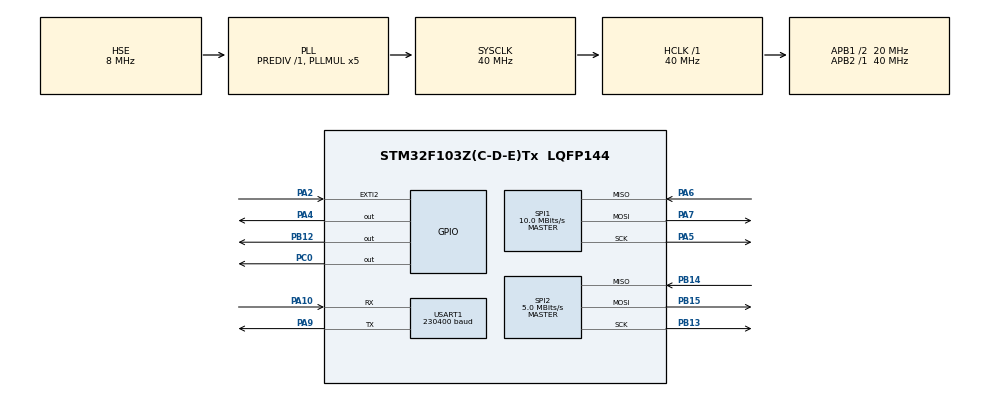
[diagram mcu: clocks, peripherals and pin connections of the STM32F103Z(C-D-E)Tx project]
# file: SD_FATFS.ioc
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FATFS._MAX_SS=4096
FATFS._USE_LFN=1
Mcu.Family=STM32F1
Mcu.Name=STM32F103Z(C-D-E)Tx
Mcu.Package=LQFP144
NVIC.EXTI2_IRQn=true\:0\:0\:false\:false\:true\:true\:true\:true
NVIC.PriorityGroup=NVIC_PRIORITYGROUP_4
NVIC.TIM2_IRQn=true\:0\:0\:false\:false\:true\:true\:true\:true
NVIC.USART1_IRQn=true\:0\:0\:false\:false\:true\:true\:true\:true
OSC_IN.Mode=HSE-External-Oscillator
OSC_IN.Signal=RCC_OSC_IN
OSC_OUT.Mode=HSE-External-Oscillator
OSC_OUT.Signal=RCC_OSC_OUT
PA10.Mode=Asynchronous
PA10.Signal=USART1_RX
PA13.Mode=Serial_Wire
PA13.Signal=SYS_JTMS-SWDIO
PA14.Mode=Serial_Wire
PA14.Signal=SYS_JTCK-SWCLK
PA2.GPIO_ModeDefaultEXTI=GPIO_MODE_IT_RISING_FALLING
PA2.Signal=GPXTI2
PA4.GPIO_Speed=GPIO_SPEED_FREQ_MEDIUM
PA4.Signal=GPIO_Output
PA5.Mode=Full_Duplex_Master
PA5.Signal=SPI1_SCK
PA6.Mode=Full_Duplex_Master
PA6.Signal=SPI1_MISO
PA7.Mode=Full_Duplex_Master
PA7.Signal=SPI1_MOSI
PA9.Mode=Asynchronous
PA9.Signal=USART1_TX
PB12.GPIO_Speed=GPIO_SPEED_FREQ_MEDIUM
PB12.Signal=GPIO_Output
PB13.Mode=Full_Duplex_Master
PB13.Signal=SPI2_SCK
PB14.Mode=Full_Duplex_Master
PB14.Signal=SPI2_MISO
PB15.Mode=Full_Duplex_Master
PB15.Signal=SPI2_MOSI
PC0.GPIO_Speed=GPIO_SPEED_FREQ_MEDIUM
PC0.Signal=GPIO_Output
ProjectManager.HeapSize=0x200
ProjectManager.StackSize=0x400
ProjectManager.TargetToolchain=MDK-ARM V5
RCC.AHBFreq_Value=40000000
RCC.APB1CLKDivider=RCC_HCLK_DIV2
RCC.APB1Freq_Value=20000000
RCC.APB1TimFreq_Value=40000000
RCC.APB2Freq_Value=40000000
RCC.APB2TimFreq_Value=40000000
RCC.HCLKFreq_Value=40000000
RCC.PLLMUL=RCC_PLL_MUL5
RCC.PLLSourceVirtual=RCC_PLLSOURCE_HSE
RCC.SYSCLKFreq_VALUE=40000000
RCC.SYSCLKSource=RCC_SYSCLKSOURCE_PLLCLK
RCC.USBFreq_Value=40000000
SPI1.BaudRatePrescaler=SPI_BAUDRATEPRESCALER_4
SPI1.CalculateBaudRate=10.0 MBits/s
SPI1.Direction=SPI_DIRECTION_2LINES
SPI1.Mode=SPI_MODE_MASTER
SPI1.VirtualType=VM_MASTER
SPI2.BaudRatePrescaler=SPI_BAUDRATEPRESCALER_4
SPI2.CalculateBaudRate=5.0 MBits/s
SPI2.Direction=SPI_DIRECTION_2LINES
SPI2.Mode=SPI_MODE_MASTER
SPI2.VirtualType=VM_MASTER
TIM2.Period=10
TIM2.Prescaler=39999
USART1.BaudRate=230400
USART1.VirtualMode=VM_ASYNC
VP_FATFS_VS_Generic.Mode=User_defined
VP_TIM2_VS_ClockSourceINT.Mode=Internal
board=custom

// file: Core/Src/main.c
/* USER CODE BEGIN Header */
/**
  ******************************************************************************
  * @file           : main.c
  * @brief          : Main program body
  ******************************************************************************
  * @attention
  *
  * Copyright (c) 2022 STMicroelectronics.
  * All rights reserved.
  *
  * This software is licensed under terms that can be found in the LICENSE file
  * in the root directory of this software component.
  * If no LICENSE file comes with this software, it is provided AS-IS.
  *
  ******************************************************************************
  */
/* USER CODE END Header */
#include "main.h"
#include "fatfs.h"
#include "stdio.h"
/* USER CODE BEGIN Includes */
#include "sd.h"
/* USER CODE END Includes */

SPI_HandleTypeDef hspi1;

SPI_HandleTypeDef hspi2;

TIM_HandleTypeDef htim2;

UART_HandleTypeDef huart1;

/* USER CODE BEGIN PV */
volatile uint16_t Timer1=0;
uint8_t sect[512];
//char buffer1[512] ="Selection ... The... . Of course, you can do this with the help of breakpoints, but there are certain rumors that it��s better not to slow down the work with the map, because the initialization expires very quickly and you need to redo it, although I also worked in debugging and these rumors were not confirmed. However, it is still a terminal program."; //�����֧� �էѧߧߧ��� �էݧ� �٧ѧ�ڧ��/���֧ߧڧ�
extern char str1[60];
uint32_t byteswritten,bytesread;
uint8_t result;
extern char USERPath[4]; /* logical drive path */
FATFS SDFatFs;
FATFS *fs;
FIL MyFile;
/* USER CODE END PV */

void SystemClock_Config(void);
static void MX_GPIO_Init(void);
static void MX_SPI2_Init(void);
static void MX_TIM2_Init(void);
static void MX_USART1_UART_Init(void);
static void MX_SPI1_Init(void);

/* USER CODE BEGIN 0 */
FRESULT ReadLongFile(void)
{
  uint16_t i=0, i1=0;
  uint32_t ind=0;
  uint32_t f_size = MyFile.fsize;
  sprintf(str1,"fsize: %lu\r\n",(unsigned long)f_size);
  HAL_UART_Transmit(&huart1,(uint8_t*)str1,strlen(str1),0x1000);
  ind=0;
  do
  {
    if(f_size<512)
    {
      i1=f_size;
    }
    else
    {
      i1=512;
    }
    f_size-=i1;
    f_lseek(&MyFile,ind);
    f_read(&MyFile,sect,i1,(UINT *)&bytesread);
    for(i=0;i<bytesread;i++)
    {
      HAL_UART_Transmit(&huart1,sect+i,1,0x1000);
    }
    ind+=i1;
  }
  while(f_size>0);
  HAL_UART_Transmit(&huart1,(uint8_t*)"\r\n",2,0x1000);
  return FR_OK;
}
/* USER CODE END 0 */

int main(void)
{
  /* USER CODE BEGIN 1 */
	//uint16_t i;
	FRESULT res; //��֧٧�ݧ��ѧ� �ӧ����ݧߧ֧ߧڧ�
	uint8_t wtext[]="Hello from STM32!!!";
	FILINFO fileInfo;
	char *fn;
	DIR dir;
	DWORD fre_clust, fre_sect, tot_sect;
  /* USER CODE END 1 */

  /* MCU Configuration--------------------------------------------------------*/

  /* Reset of all peripherals, Initializes the Flash interface and the Systick. */
  HAL_Init();

  /* Configure the system clock */
  SystemClock_Config();

  /* Initialize all configured peripherals */
  MX_GPIO_Init();
  MX_SPI2_Init();
  MX_TIM2_Init();
  MX_USART1_UART_Init();
  MX_FATFS_Init();
  MX_SPI1_Init();
  /* USER CODE BEGIN 2 */
	HAL_TIM_Base_Start_IT(&htim2);
	//SD_PowerOn();
	//sd_ini();
	//SD_Write_Block((uint8_t*)buffer1,0x0400); //���ѧ�ڧ�֧� �ҧݧ�� �� �ҧ��֧�
  //SD_Read_Block(sect,0x0400); //����ڧ�ѧ֧� �ҧݧ�� �ڧ� �ҧ��֧��
	//for(i=0;i<512;i++) HAL_UART_Transmit(&huart1,sect+i,1,0x1000);
	//HAL_UART_Transmit(&huart1,(uint8_t*)"\r\n",2,0x1000);
	disk_initialize(SDFatFs.drv);
	//read
	/*
	if(f_mount(&SDFatFs,(TCHAR const*)USERPath,0)!=FR_OK)
	{
		Error_Handler();
	}
	else
	{
		if(f_open(&MyFile,"123.txt",FA_READ)!=FR_OK)
		{
			Error_Handler();
		}
		else
		{
			ReadLongFile();
			f_close(&MyFile);
		}
	}
	*/
	/*
	//write
	if(f_mount(&SDFatFs,(TCHAR const*)USERPath,0)!=FR_OK)
	{
		Error_Handler();
	}
	else

	{
		if(f_open(&MyFile,"mywrite1.txt",FA_CREATE_ALWAYS|FA_WRITE)!=FR_OK)
		{
			Error_Handler();
		}
		else
		{
			res=f_write(&MyFile,wtext,sizeof(wtext),(void*)&byteswritten);
			if((byteswritten==0)||(res!=FR_OK))
			{
				Error_Handler();
			}
			f_close(&MyFile);
		}
	}
	*/
	// read dir
	if(f_mount(&SDFatFs,(TCHAR const*)USERPath,0)!=FR_OK)
	{
		Error_Handler();
	}
	else
	{
		fileInfo.lfname = (char*)sect;
		fileInfo.lfsize = sizeof(sect);
		result = f_opendir(&dir, "/");
		if (result == FR_OK)
		{
			while(1)
			{
				result = f_readdir(&dir, &fileInfo);
				if (result==FR_OK && fileInfo.fname[0])
				{
					fn = fileInfo.lfname;
					if(strlen(fn)) HAL_UART_Transmit(&huart1,(uint8_t*)fn,strlen(fn),0x1000);
					else HAL_UART_Transmit(&huart1,(uint8_t*)fileInfo.fname,strlen((char*)fileInfo.fname),0x1000);
					if(fileInfo.fattrib&AM_DIR)
					{
						HAL_UART_Transmit(&huart1,(uint8_t*)" [DIR]",7,0x1000);
					}
				}
				else break;
				HAL_UART_Transmit(&huart1,(uint8_t*)"\r\n",2,0x1000);
			}
			f_getfree("/", &fre_clust, &fs);
			sprintf(str1,"fre_clust: %lu\r\n",fre_clust);
			HAL_UART_Transmit(&huart1,(uint8_t*)str1,strlen(str1),0x1000);
			sprintf(str1,"n_fatent: %lu\r\n",fs->n_fatent);
			HAL_UART_Transmit(&huart1,(uint8_t*)str1,strlen(str1),0x1000);
			sprintf(str1,"fs_csize: %d\r\n",fs->csize);
			HAL_UART_Transmit(&huart1,(uint8_t*)str1,strlen(str1),0x1000);
			tot_sect = (fs->n_fatent - 2) * fs->csize;
			sprintf(str1,"tot_sect: %lu\r\n",tot_sect);
			HAL_UART_Transmit(&huart1,(uint8_t*)str1,strlen(str1),0x1000);
			fre_sect = fre_clust * fs->csize;
			sprintf(str1,"fre_sect: %lu\r\n",fre_sect);
			HAL_UART_Transmit(&huart1,(uint8_t*)str1,strlen(str1),0x1000);
			sprintf(str1, "%lu KB total drive space.\r\n%lu KB available.\r\n",
			fre_sect/2, tot_sect/2);
			HAL_UART_Transmit(&huart1,(uint8_t*)str1,strlen(str1),0x1000);
			f_closedir(&dir);
		}
	}
	FATFS_UnLinkDriver(USERPath);
	/* USER CODE END 2 */

  /* Infinite loop */
  while (1)
  {

  }
}

void SystemClock_Config(void)
{
  RCC_OscInitTypeDef RCC_OscInitStruct = {0};
  RCC_ClkInitTypeDef RCC_ClkInitStruct = {0};

  /** Initializes the RCC Oscillators according to the specified parameters
  * in the RCC_OscInitTypeDef structure.
  */
  RCC_OscInitStruct.OscillatorType = RCC_OSCILLATORTYPE_HSE;
  RCC_OscInitStruct.HSEState = RCC_HSE_ON;
  RCC_OscInitStruct.HSEPredivValue = RCC_HSE_PREDIV_DIV1;
  RCC_OscInitStruct.HSIState = RCC_HSI_ON;
  RCC_OscInitStruct.PLL.PLLState = RCC_PLL_ON;
  RCC_OscInitStruct.PLL.PLLSource = RCC_PLLSOURCE_HSE;
  RCC_OscInitStruct.PLL.PLLMUL = RCC_PLL_MUL5;
  if (HAL_RCC_OscConfig(&RCC_OscInitStruct) != HAL_OK)
  {
    Error_Handler();
  }

  /** Initializes the CPU, AHB and APB buses clocks
  */
  RCC_ClkInitStruct.ClockType = RCC_CLOCKTYPE_HCLK|RCC_CLOCKTYPE_SYSCLK
                              |RCC_CLOCKTYPE_PCLK1|RCC_CLOCKTYPE_PCLK2;
  RCC_ClkInitStruct.SYSCLKSource = RCC_SYSCLKSOURCE_PLLCLK;
  RCC_ClkInitStruct.AHBCLKDivider = RCC_SYSCLK_DIV1;
  RCC_ClkInitStruct.APB1CLKDivider = RCC_HCLK_DIV2;
  RCC_ClkInitStruct.APB2CLKDivider = RCC_HCLK_DIV1;

  if (HAL_RCC_ClockConfig(&RCC_ClkInitStruct, FLASH_LATENCY_1) != HAL_OK)
  {
    Error_Handler();
  }
}

static void MX_SPI1_Init(void)
{

  /* SPI1 parameter configuration*/
  hspi1.Instance = SPI1;
  hspi1.Init.Mode = SPI_MODE_MASTER;
  hspi1.Init.Direction = SPI_DIRECTION_2LINES;
  hspi1.Init.DataSize = SPI_DATASIZE_8BIT;
  hspi1.Init.CLKPolarity = SPI_POLARITY_LOW;
  hspi1.Init.CLKPhase = SPI_PHASE_1EDGE;
  hspi1.Init.NSS = SPI_NSS_SOFT;
  hspi1.Init.BaudRatePrescaler = SPI_BAUDRATEPRESCALER_4;
  hspi1.Init.FirstBit = SPI_FIRSTBIT_MSB;
  hspi1.Init.TIMode = SPI_TIMODE_DISABLE;
  hspi1.Init.CRCCalculation = SPI_CRCCALCULATION_DISABLE;
  hspi1.Init.CRCPolynomial = 10;
  if (HAL_SPI_Init(&hspi1) != HAL_OK)
  {
    Error_Handler();
  }

}

static void MX_SPI2_Init(void)
{

  /* SPI2 parameter configuration*/
  hspi2.Instance = SPI2;
  hspi2.Init.Mode = SPI_MODE_MASTER;
  hspi2.Init.Direction = SPI_DIRECTION_2LINES;
  hspi2.Init.DataSize = SPI_DATASIZE_8BIT;
  hspi2.Init.CLKPolarity = SPI_POLARITY_LOW;
  hspi2.Init.CLKPhase = SPI_PHASE_1EDGE;
  hspi2.Init.NSS = SPI_NSS_SOFT;
  hspi2.Init.BaudRatePrescaler = SPI_BAUDRATEPRESCALER_4;
  hspi2.Init.FirstBit = SPI_FIRSTBIT_MSB;
  hspi2.Init.TIMode = SPI_TIMODE_DISABLE;
  hspi2.Init.CRCCalculation = SPI_CRCCALCULATION_DISABLE;
  hspi2.Init.CRCPolynomial = 10;
  if (HAL_SPI_Init(&hspi2) != HAL_OK)
  {
    Error_Handler();
  }

}

static void MX_TIM2_Init(void)
{

  TIM_ClockConfigTypeDef sClockSourceConfig = {0};
  TIM_MasterConfigTypeDef sMasterConfig = {0};

  htim2.Instance = TIM2;
  htim2.Init.Prescaler = 39999;
  htim2.Init.CounterMode = TIM_COUNTERMODE_UP;
  htim2.Init.Period = 10;
  htim2.Init.ClockDivision = TIM_CLOCKDIVISION_DIV1;
  htim2.Init.AutoReloadPreload = TIM_AUTORELOAD_PRELOAD_DISABLE;
  if (HAL_TIM_Base_Init(&htim2) != HAL_OK)
  {
    Error_Handler();
  }
  sClockSourceConfig.ClockSource = TIM_CLOCKSOURCE_INTERNAL;
  if (HAL_TIM_ConfigClockSource(&htim2, &sClockSourceConfig) != HAL_OK)
  {
    Error_Handler();
  }
  sMasterConfig.MasterOutputTrigger = TIM_TRGO_RESET;
  sMasterConfig.MasterSlaveMode = TIM_MASTERSLAVEMODE_DISABLE;
  if (HAL_TIMEx_MasterConfigSynchronization(&htim2, &sMasterConfig) != HAL_OK)
  {
    Error_Handler();
  }

}

static void MX_USART1_UART_Init(void)
{

  huart1.Instance = USART1;
  huart1.Init.BaudRate = 230400;
  huart1.Init.WordLength = UART_WORDLENGTH_8B;
  huart1.Init.StopBits = UART_STOPBITS_1;
  huart1.Init.Parity = UART_PARITY_NONE;
  huart1.Init.Mode = UART_MODE_TX_RX;
  huart1.Init.HwFlowCtl = UART_HWCONTROL_NONE;
  huart1.Init.OverSampling = UART_OVERSAMPLING_16;
  if (HAL_UART_Init(&huart1) != HAL_OK)
  {
    Error_Handler();
  }

}

static void MX_GPIO_Init(void)
{
  GPIO_InitTypeDef GPIO_InitStruct = {0};

  /* GPIO Ports Clock Enable */
  __HAL_RCC_GPIOC_CLK_ENABLE();
  __HAL_RCC_GPIOA_CLK_ENABLE();
  __HAL_RCC_GPIOB_CLK_ENABLE();

  /*Configure GPIO pin Output Level */
  HAL_GPIO_WritePin(GPIOC, GPIO_PIN_0, GPIO_PIN_RESET);

  /*Configure GPIO pin Output Level */
  HAL_GPIO_WritePin(GPIOA, GPIO_PIN_4, GPIO_PIN_RESET);

  /*Configure GPIO pin Output Level */
  HAL_GPIO_WritePin(GPIOB, GPIO_PIN_12, GPIO_PIN_RESET);

  /*Configure GPIO pin : PC0 */
  GPIO_InitStruct.Pin = GPIO_PIN_0;
  GPIO_InitStruct.Mode = GPIO_MODE_OUTPUT_PP;
  GPIO_InitStruct.Pull = GPIO_NOPULL;
  GPIO_InitStruct.Speed = GPIO_SPEED_FREQ_MEDIUM;
  HAL_GPIO_Init(GPIOC, &GPIO_InitStruct);

  /*Configure GPIO pin : PA2 */
  GPIO_InitStruct.Pin = GPIO_PIN_2;
  GPIO_InitStruct.Mode = GPIO_MODE_IT_RISING_FALLING;
  GPIO_InitStruct.Pull = GPIO_NOPULL;
  HAL_GPIO_Init(GPIOA, &GPIO_InitStruct);

  /*Configure GPIO pin : PA4 */
  GPIO_InitStruct.Pin = GPIO_PIN_4;
  GPIO_InitStruct.Mode = GPIO_MODE_OUTPUT_PP;
  GPIO_InitStruct.Pull = GPIO_NOPULL;
  GPIO_InitStruct.Speed = GPIO_SPEED_FREQ_MEDIUM;
  HAL_GPIO_Init(GPIOA, &GPIO_InitStruct);

  /*Configure GPIO pin : PB12 */
  GPIO_InitStruct.Pin = GPIO_PIN_12;
  GPIO_InitStruct.Mode = GPIO_MODE_OUTPUT_PP;
  GPIO_InitStruct.Pull = GPIO_NOPULL;
  GPIO_InitStruct.Speed = GPIO_SPEED_FREQ_MEDIUM;
  HAL_GPIO_Init(GPIOB, &GPIO_InitStruct);

  /* EXTI interrupt init*/
  HAL_NVIC_SetPriority(EXTI2_IRQn, 0, 0);
  HAL_NVIC_EnableIRQ(EXTI2_IRQn);

}

/* USER CODE BEGIN 4 */
//----------------------------------------------------------

void HAL_TIM_PeriodElapsedCallback(TIM_HandleTypeDef *htim)
{
	if(htim==&htim2)
	{

		Timer1++;
	}
}
//----------------------------------------------------------
/* USER CODE END 4 */

void Error_Handler(void)
{
  __disable_irq();
  while (1)
  {
  }
}
